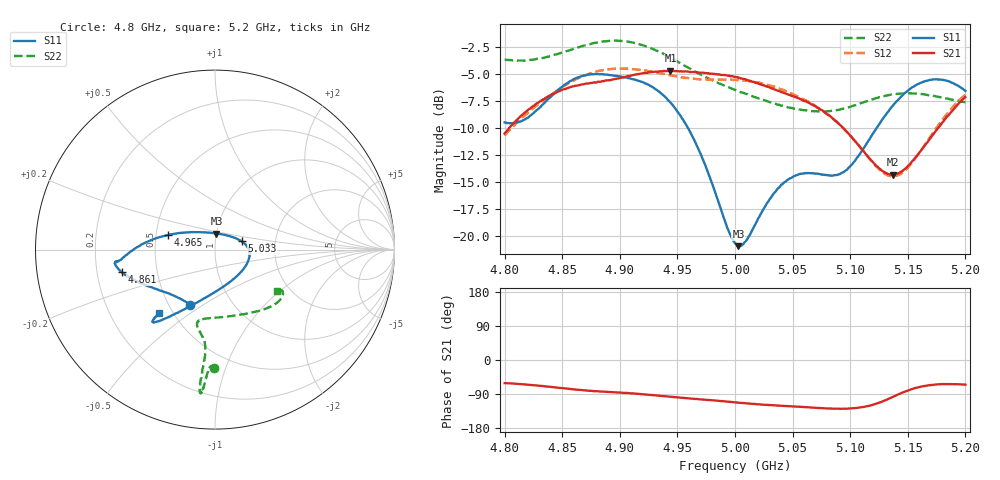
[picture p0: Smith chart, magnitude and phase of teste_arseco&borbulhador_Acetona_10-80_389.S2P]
! Network Analyzer HP8722D
! Hewlett-Packard
! Data name: Linha & Wilkinson
! Saver's name: Rodrigo Anjos
! Comments: Teste da utilização de aquisição
! continua pelo VNA HP8722D
! Time and date: 17/4/2025 17:36
!  Frequency  S11  S21  S12  S22
# HZ  S  MA R 50
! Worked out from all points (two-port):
!   401 points, 4.8 GHz to 5.2 GHz, reference 50 ohm
!   highest |S21| = -4.69 dB at 4.944 GHz (marker M1); lowest = -14.3 dB at 5.137 GHz (marker M2)
!   |S21| within 3 dB of the highest: 4.828 GHz to 5.065 GHz (236.7 MHz wide, 4.78 % of centre); 5.194442 GHz to end of sweep
!   lowest |S11| = -20.9 dB at 5.003 GHz (marker M3), VSWR 1.20, Z = 50 + j9.02 ohm
!   |S11| at or under -10 dB: 4.959 GHz to 5.123 GHz (163.6 MHz wide, 3.24 % of centre)
!   |S22| runs from -8.5 to -1.9 dB; largest |S21 - S12| = 0.87
!   S11 on the Smith chart (normalised r, x): 4.8 GHz: 0.64, -0.44; 4.861 GHz: 0.31, -0.11; 4.965 GHz: 0.58, +0.10; 5.033 GHz: 1.34, +0.13; 5.2 GHz: 0.42, -0.38
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4.8e9  0.3362 -114.5  0.2986 -61.2  0.2921 -175.4  0.6571 -90.5
4.819e9  0.3511 -134.6  0.3786 -64.9  0.3672 -174.3  0.6523 -92.1
4.861e9  0.5354 -166.6  0.496 -78.0  0.5293 -177.8  0.739 -94.3
4.867e9  0.5507 -168.9  0.504 -79.5  0.5468 -178.9  0.757 -94.6
4.898e9  0.55 -173.1  0.5367 -85.5  0.5943 175.1  0.8031 -95.7
4.934e9  0.4672 -179.0  0.579 -94.3  0.5707 171.3  0.7129 -96.2
4.944e9  0.4155 176.7  0.5825 -97.1  0.5548 171.3  0.6703 -96.0
4.965e9  0.2761 162.9  0.5756 -102.6  0.5346 173.1  0.5787 -95.4
4.994e9  0.1073 117.0  0.5519 -110.1  0.5299 175.4  0.4894 -98.1
5e9  0.09271 96.5  0.5463 -111.8  0.5294 175.6  0.4751 -99.4
5.003e9  0.08984 84.8  0.5406 -112.6  0.5285 175.5  0.4683 -100.3
5.011e9  0.09755 57.1  0.5277 -114.8  0.524 175.4  0.4537 -101.8
5.033e9  0.1561 17.2  0.4827 -119.4  0.4935 174.1  0.4125 -103.5
5.049e9  0.1861 1.1  0.446 -122.2  0.457 173.6  0.3918 -99.5
5.067e9  0.1957 -18.1  0.4062 -125.5  0.4101 173.1  0.3788 -89.9
5.096e9  0.2013 -68.7  0.3077 -128.6  0.308 174.6  0.3917 -67.4
5.121e9  0.3058 -107.8  0.2161 -116.9  0.2145 -171.8  0.4329 -49.8
5.134e9  0.3835 -118.3  0.1934 -101.4  0.1903 -154.5  0.4502 -43.1
5.137e9  0.4014 -120.1  0.1925 -97.4  0.1892 -149.7  0.4535 -41.9
5.15e9  0.4708 -125.7  0.2109 -80.8  0.207 -130.2  0.4581 -37.0
5.17e9  0.5291 -130.1  0.2859 -66.1  0.2914 -112.3  0.448 -32.4
5.2e9  0.47 -131.5  0.4402 -65.2  0.4523 -107.3  0.4159 -33.9
